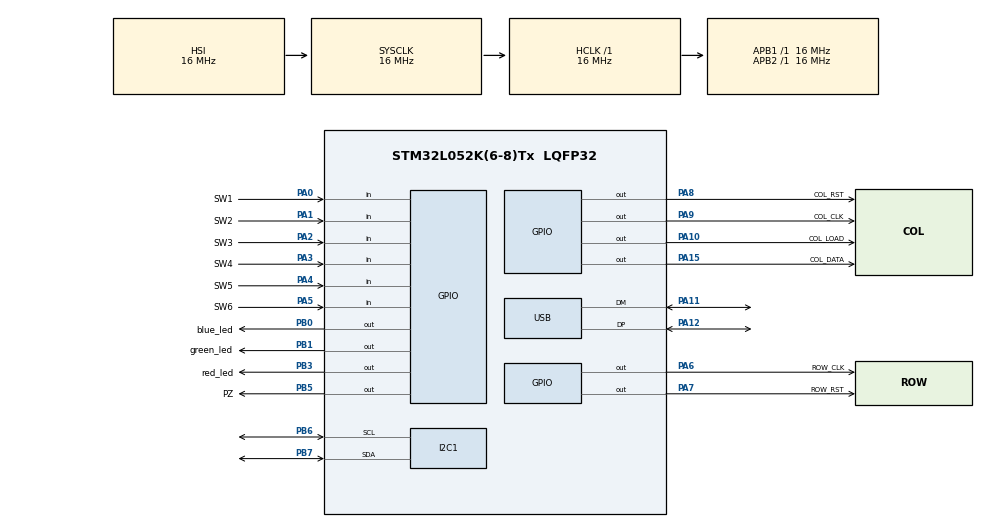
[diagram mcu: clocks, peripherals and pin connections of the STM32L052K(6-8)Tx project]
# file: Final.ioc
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I2C1.Timing=0x00303D5B
Mcu.Family=STM32L0
Mcu.Name=STM32L052K(6-8)Tx
Mcu.Package=LQFP32
NVIC.USB_IRQn=true\:0\:0\:false\:false\:true
PA0.GPIO_Label=SW1
PA0.GPIO_PuPd=GPIO_PULLUP
PA0.Signal=GPIO_Input
PA1.GPIO_Label=SW2
PA1.GPIO_PuPd=GPIO_PULLUP
PA1.Signal=GPIO_Input
PA10.GPIO_Label=COL_LOAD
PA10.Signal=GPIO_Output
PA11.Mode=Device
PA11.Signal=USB_DM
PA12.Mode=Device
PA12.Signal=USB_DP
PA15.GPIO_Label=COL_DATA
PA15.Signal=GPIO_Output
PA2.GPIO_Label=SW3
PA2.GPIO_PuPd=GPIO_PULLUP
PA2.Signal=GPIO_Input
PA3.GPIO_Label=SW4
PA3.GPIO_PuPd=GPIO_PULLUP
PA3.Signal=GPIO_Input
PA4.GPIO_Label=SW5
PA4.GPIO_PuPd=GPIO_PULLUP
PA4.Signal=GPIO_Input
PA5.GPIO_Label=SW6
PA5.GPIO_PuPd=GPIO_PULLUP
PA5.Signal=GPIO_Input
PA6.GPIO_Label=ROW_CLK
PA6.Signal=GPIO_Output
PA7.GPIO_Label=ROW_RST
PA7.Signal=GPIO_Output
PA8.GPIO_Label=COL_RST
PA8.Signal=GPIO_Output
PA9.GPIO_Label=COL_CLK
PA9.Signal=GPIO_Output
PB0.GPIO_Label=blue_led
PB0.Signal=GPIO_Output
PB1.GPIO_Label=green_led
PB1.Signal=GPIO_Output
PB3.GPIO_Label=red_led
PB3.Signal=GPIO_Output
PB5.GPIO_Label=PZ
PB5.Signal=GPIO_Output
PB6.Mode=I2C
PB6.Signal=I2C1_SCL
PB7.Mode=I2C
PB7.Signal=I2C1_SDA
ProjectManager.HeapSize=0x200
ProjectManager.StackSize=0x400
ProjectManager.TargetToolchain=MDK-ARM V5
RCC.AHBFreq_Value=16000000
RCC.APB1Freq_Value=16000000
RCC.APB1TimFreq_Value=16000000
RCC.APB2Freq_Value=16000000
RCC.APB2TimFreq_Value=16000000
RCC.HCLKFreq_Value=16000000
RCC.HSI16_VALUE=16000000
RCC.HSI48MClockSelection=RCC_USBCLKSOURCE_HSI48
RCC.HSI48_VALUE=48000000
RCC.HSI_VALUE=16000000
RCC.LSE_VALUE=32768
RCC.MSI_VALUE=2097000
RCC.SYSCLKFreq_VALUE=16000000
RCC.SYSCLKSource=RCC_SYSCLKSOURCE_HSI
RCC.VCOOutputFreq_Value=48000000
USB_DEVICE.CLASS_NAME_FS=CDC
USB_DEVICE.VirtualMode=Cdc
USB_DEVICE.VirtualModeFS=Cdc_FS
VP_USB_DEVICE_VS_USB_DEVICE_CDC_FS.Mode=CDC_FS
board=Final2

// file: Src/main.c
/**
  ******************************************************************************
  * File Name          : main.c
  * Description        : Main program body
  ******************************************************************************
  * This notice applies to any and all portions of this file
  * that are not between comment pairs USER CODE BEGIN and
  * USER CODE END. Other portions of this file, whether
  * inserted by the user or by software development tools
  * are owned by their respective copyright owners.
  *
  * Copyright (c) 2017 STMicroelectronics International N.V.
  * All rights reserved.
  *
  * Redistribution and use in source and binary forms, with or without
  * modification, are permitted, provided that the following conditions are met:
  *
  * 1. Redistribution of source code must retain the above copyright notice,
  *    this list of conditions and the following disclaimer.
  * 2. Redistributions in binary form must reproduce the above copyright notice,
  *    this list of conditions and the following disclaimer in the documentation
  *    and/or other materials provided with the distribution.
  * 3. Neither the name of STMicroelectronics nor the names of other
  *    contributors to this software may be used to endorse or promote products
  *    derived from this software without specific written permission.
  * 4. This software, including modifications and/or derivative works of this
  *    software, must execute solely and exclusively on microcontroller or
  *    microprocessor devices manufactured by or for STMicroelectronics.
  * 5. Redistribution and use of this software other than as permitted under
  *    this license is void and will automatically terminate your rights under
  *    this license.
  *
  * THIS SOFTWARE IS PROVIDED BY STMICROELECTRONICS AND CONTRIBUTORS "AS IS"
  * AND ANY EXPRESS, IMPLIED OR STATUTORY WARRANTIES, INCLUDING, BUT NOT
  * LIMITED TO, THE IMPLIED WARRANTIES OF MERCHANTABILITY, FITNESS FOR A
  * PARTICULAR PURPOSE AND NON-INFRINGEMENT OF THIRD PARTY INTELLECTUAL PROPERTY
  * RIGHTS ARE DISCLAIMED TO THE FULLEST EXTENT PERMITTED BY LAW. IN NO EVENT
  * SHALL STMICROELECTRONICS OR CONTRIBUTORS BE LIABLE FOR ANY DIRECT, INDIRECT,
  * INCIDENTAL, SPECIAL, EXEMPLARY, OR CONSEQUENTIAL DAMAGES (INCLUDING, BUT NOT
  * LIMITED TO, PROCUREMENT OF SUBSTITUTE GOODS OR SERVICES; LOSS OF USE, DATA,
  * OR PROFITS; OR BUSINESS INTERRUPTION) HOWEVER CAUSED AND ON ANY THEORY OF
  * LIABILITY, WHETHER IN CONTRACT, STRICT LIABILITY, OR TORT (INCLUDING
  * NEGLIGENCE OR OTHERWISE) ARISING IN ANY WAY OUT OF THE USE OF THIS SOFTWARE,
  * EVEN IF ADVISED OF THE POSSIBILITY OF SUCH DAMAGE.
  *
  ******************************************************************************
  */
#include "main.h"
#include "stm32l0xx_hal.h"
#include "usb_device.h"

/* USER CODE BEGIN Includes */
#include "lcd_user.h"
#include "usbd_cdc_if.h"
/* USER CODE END Includes */

I2C_HandleTypeDef hi2c1;

/* USER CODE BEGIN PV */
/* Private variables ---------------------------------------------------------*/
//
//**************************************************************************************
//	Global enums, structures
//**************************************************************************************
//

// 	these colors means different floors
typedef enum
{
	BLACK, RED, GREEN, YELLOW, BLUE, VIOLET, CYAN, WHITE
} color_t;

typedef struct
{
	uint8_t row;					// coordinates of labyrinth
	uint8_t col;					// row, col, floor
	color_t floor;
} position_t;							// type definition of position

position_t pos;							// player's position

/* USER CODE END PV */

void SystemClock_Config(void);
static void MX_GPIO_Init(void);
static void MX_I2C1_Init(void);

/* USER CODE BEGIN PFP */

//
//****************************************************************************************
//	Global function prototypes
//****************************************************************************************
//
void delay_us(uint32_t us);
void hw_init(void);
void shift_register_reset(void);
void shift_register_clk_pulse(void);
void shift_register_load_pulse(void);
void shift_register_write(uint8_t data);
void row_counter_reset(void);
void row_counter_clk_pulse(void);
void set_row(uint8_t row);
void set_dot(uint8_t row, uint8_t col, color_t color);
void set_color(color_t color);

//
//****************************************************************************************
//	Global variables
//****************************************************************************************
//
char lcd_buff[17];									// buffer for sprintf function to print on LCD display
char buff[17];											// buffer for sprintf function to print on USB device

//****************************************************************************************
//	This is labyrinth data
//****************************************************************************************
#define FORWARD		0x01							// wall directions and values
#define RIGHT		0x02							// you can't go in this direction if current cell
#define BACKWARD	0x04							// contains this wall (floor and/or ceiling)
#define LEFT		0x08
#define DOWN		0x10
#define	UP			0x20

//											F  R  C											F = floor, R = row, C = colum
const uint8_t labyrinth[7][8][8] = {

//  col 0	col1  col2  col3  col4  col5  col6	col 7	  row 0 of array is
//																										row 7 of labyrinth!

		0x39,	0x31,	0x37,	0x39,	0x35,	0x37,	0x39,	0x17,	// row 7	FLOOR 1 (RED)
		0x3A,	0x3E,	0x39,	0x34,	0x33,	0x3B,	0x3C,	0x33,	// row 6
		0x38,	0x31,	0x32,	0x1B,	0x38,	0x32,	0x3B,	0x3A,	// row 5
		0x3A,	0x3A,	0x3A,	0x3A,	0x3A,	0x3E,	0x3C,	0x32,	// row 4
		0x3E,	0x3E,	0x38,	0x32,	0x3A,	0x39,	0x31,	0x36,	// row 3
		0x39,	0x31,	0x36,	0x3E,	0x3A,	0x3E,	0x3A,	0x3B,	// row 2
		0x3A,	0x3A,	0x39,	0x33,	0x38,	0x35,	0x32,	0x3A,	// row 1
		0x3E,	0x3C,	0x36,	0x3E,	0x3C,	0x37,	0x3C,	0x36,	// row 0

		0x39,	0x31,	0x37,	0x39,	0x35,	0x37,	0x39,	0x27,	// row 7	FLOOR 2 (GREEN)
		0x3A,	0x3E,	0x39,	0x34,	0x33,	0x3B,	0x3A,	0x3B,
		0x38,	0x31,	0x32,	0x2B,	0x38,	0x32,	0x3A,	0x3A,
		0x3A,	0x3A,	0x3A,	0x3A,	0x3A,	0x3E,	0x3C,	0x32,
		0x3E,	0x3E,	0x3A,	0x3A,	0x3A,	0x39,	0x31,	0x36,
		0x39,	0x31,	0x36,	0x3E,	0x3A,	0x3E,	0x3A,	0x3B,
		0x3E,	0x3A,	0x39,	0x33,	0x38,	0x35,	0x32,	0x3A,
		0x1D,	0x34,	0x36,	0x3E,	0x3C,	0x37,	0x3C,	0x36,

		0x1D,	0x33,	0x39,	0x35,	0x35,	0x35,	0x35,	0x33,	// row 7	FLOOR 3 (YELLOW)
		0x3B,	0x3A,	0x3A,	0x39,	0x31,	0x35,	0x33,	0x3A,
		0x38,	0x32,	0x3A,	0x3E,	0x3A,	0x39,	0x36,	0x3A,
		0x3E,	0x3A,	0x3C,	0x17,	0x3A,	0x3C,	0x37,	0x3A,
		0x39,	0x34,	0x31,	0x35,	0x30,	0x35,	0x35,	0x32,
		0x3A,	0x3D,	0x30,	0x33,	0x3A,	0x39,	0x37,	0x3A,
		0x3C,	0x37,	0x3E,	0x3E,	0x3A,	0x3C,	0x35,	0x36,
		0x2D,	0x35,	0x35,	0x35,	0x34,	0x35,	0x35,	0x37,

		0x2D,	0x33,	0x39,	0x35,	0x35,	0x35,	0x35,	0x33,	// row 7	FLOOR 4 (BLUE)
		0x3B,	0x3A,	0x38,	0x35,	0x37,	0x39,	0x33,	0x3A,
		0x38,	0x32,	0x3A,	0x3D,	0x33,	0x3A,	0x3A,	0x3A,
		0x3E,	0x3A,	0x3A,	0x25,	0x36,	0x3E,	0x3A,	0x3A,
		0x39,	0x36,	0x3A,	0x39,	0x35,	0x31,	0x30,	0x32,
		0x3A,	0x3D,	0x32,	0x3A,	0x3B,	0x3E,	0x3A,	0x3A,
		0x3C,	0x17,	0x3E,	0x3E,	0x38,	0x35,	0x36,	0x3E,
		0x3D,	0x35,	0x35,	0x35,	0x34,	0x35,	0x35,	0x17,

		0x1D,	0x33,	0x39,	0x37,	0x3D,	0x35,	0x35,	0x33,	// row 7	FLOOR 5 (VIOLET)
		0x3B,	0x3A,	0x3A,	0x39,	0x33,	0x39,	0x35,	0x32,
		0x38,	0x32,	0x3C,	0x36,	0x3A,	0x3C,	0x37,	0x3A,
		0x3E,	0x3C,	0x33,	0x1D,	0x34,	0x35,	0x33,	0x3A,
		0x39,	0x37,	0x38,	0x35,	0x35,	0x37,	0x38,	0x36,
		0x3A,	0x3D,	0x34,	0x35,	0x31,	0x35,	0x36,	0x3B,
		0x38,	0x25,	0x35,	0x37,	0x38,	0x35,	0x35,	0x36,
		0x3C,	0x35,	0x35,	0x37,	0x3C,	0x35,	0x35,	0x27,

		0x2D,	0x33,	0x39,	0x35,	0x35,	0x31,	0x35,	0x33,	// row 7	FLOOR 6 (CYAN)
		0x3B,	0x3A,	0x38,	0x35,	0x37,	0x3A,	0x3B,	0x3E,
		0x38,	0x32,	0x3A,	0x3D,	0x33,	0x3C,	0x34,	0x33,
		0x3E,	0x3A,	0x38,	0x25,	0x36,	0x39,	0x37,	0x3A,
		0x39,	0x36,	0x3A,	0x3D,	0x33,	0x38,	0x31,	0x32,
		0x3A,	0x3D,	0x30,	0x35,	0x36,	0x3E,	0x3A,	0x3A,
		0x3C,	0x37,	0x3E,	0x3D,	0x31,	0x35,	0x36,	0x3E,
		0x1D,	0x35,	0x35,	0x35,	0x34,	0x35,	0x35,	0x37,

		0x3D,	0x33,	0x3D,	0x35,	0x31,	0x31,	0x35,	0x37,	// row 7	FLOOR 7 (WHITE)
		0x3B,	0x38,	0x35,	0x35,	0x32,	0x3A,	0x3B,	0x3B,
		0x38,	0x32,	0x39,	0x35,	0x32,	0x3C,	0x34,	0x32,
		0x3E,	0x3A,	0x38,	0x37,	0x3A,	0x39,	0x37,	0x3A,
		0x39,	0x36,	0x3A,	0x3D,	0x32,	0x38,	0x35,	0x32,
		0x3A,	0x3D,	0x30,	0x37,	0x3A,	0x3E,	0x3B,	0x3A,
		0x3C,	0x37,	0x3E,	0x3D,	0x30,	0x35,	0x36,	0x3E,
		0x2D,	0x35,	0x35,	0x35,	0x34,	0x35,	0x35,	0x37,
};

//
//***************************************************************************************
//	This is NOT an accurate delay function
//  1 -> 1,8 us, 3 -> 3,5 us, 5 -> 5,2 us, 10 -> 9,8 us, 20 -> 18 us
//***************************************************************************************
//
void delay_us(uint32_t us)
{
	volatile uint32_t counter = 3*us;
	while(counter--);
}

//
//***************************************************************************************
//	This function does all Hardware initializations
//***************************************************************************************
//
void hw_init(void)
{
	// 74HC595 shift register init
	HAL_GPIO_WritePin(COL_LOAD_GPIO_Port, COL_LOAD_Pin, GPIO_PIN_RESET);	// load low
	HAL_GPIO_WritePin(COL_CLK_GPIO_Port, COL_CLK_Pin, GPIO_PIN_RESET);		// clk low
	HAL_GPIO_WritePin(COL_DATA_GPIO_Port, COL_DATA_Pin, GPIO_PIN_RESET);	// data low
	shift_register_reset();

	HAL_GPIO_WritePin(ROW_CLK_GPIO_Port, ROW_CLK_Pin, GPIO_PIN_RESET);		// row clk low
	HAL_GPIO_WritePin(ROW_RST_GPIO_Port, ROW_RST_Pin, GPIO_PIN_SET);		// row rst high
	delay_us(5);
	HAL_GPIO_WritePin(ROW_RST_GPIO_Port, ROW_RST_Pin, GPIO_PIN_RESET);		// row rst low

}

//
//***************************************************************************************
//	This function reset 74HC595 shift register
//***************************************************************************************
//
void shift_register_reset(void)
{
	HAL_GPIO_WritePin(GPIOA, COL_RST_Pin, GPIO_PIN_RESET);	// reset low (= reset)
	delay_us(5);
	HAL_GPIO_WritePin(GPIOA, COL_RST_Pin, GPIO_PIN_SET);	// release reset
	delay_us(5);
}

//
//***************************************************************************************
//	This function do one clock pulse to shift register
//***************************************************************************************
//
void shift_register_clk_pulse(void)
{
	HAL_GPIO_WritePin(GPIOA, COL_CLK_Pin, GPIO_PIN_SET);
	delay_us(1);
	HAL_GPIO_WritePin(GPIOA, COL_CLK_Pin, GPIO_PIN_RESET);
}

//
//***************************************************************************************
// This function loads data of shift register to it's outputs
//***************************************************************************************
//
void shift_register_load_pulse(void)
{
	HAL_GPIO_WritePin(GPIOA, COL_LOAD_Pin, GPIO_PIN_SET);
	delay_us(1);
	HAL_GPIO_WritePin(GPIOA, COL_LOAD_Pin, GPIO_PIN_RESET);
}

//
//***************************************************************************************
//	This function updates leds
//***************************************************************************************
void shift_register_write(uint8_t data)
{
	uint8_t i;

	shift_register_reset();						// reset shift register

	for (i=0; i<8; i++)							// 8 bit data
	{
		if (data & (0x80 >> i))					// 1000 0000 start from MSB
			HAL_GPIO_WritePin(GPIOA, COL_DATA_Pin, GPIO_PIN_SET);
		else
			HAL_GPIO_WritePin(GPIOA, COL_DATA_Pin, GPIO_PIN_RESET);

		shift_register_clk_pulse();
	}

	shift_register_load_pulse();			// load register 8 bit date to output latch
}

//
//***************************************************************************************
//	This function reset row counter
//***************************************************************************************
//
void row_counter_reset(void)
{
	HAL_GPIO_WritePin(ROW_RST_GPIO_Port, ROW_RST_Pin, GPIO_PIN_SET);		// row rst high
	delay_us(5);
	HAL_GPIO_WritePin(ROW_RST_GPIO_Port, ROW_RST_Pin, GPIO_PIN_RESET);		// row rst low
}

//
//***************************************************************************************
//	This function do one clock pulse to row counter
//***************************************************************************************
//
void row_counter_clk_pulse(void)
{
	HAL_GPIO_WritePin(ROW_CLK_GPIO_Port, ROW_CLK_Pin, GPIO_PIN_SET);		// row clk high
	delay_us(1);
	HAL_GPIO_WritePin(ROW_CLK_GPIO_Port, ROW_CLK_Pin, GPIO_PIN_RESET);		// row clk low
}

//
//***************************************************************************************
//	This function set row
//***************************************************************************************
//
void set_row(uint8_t row)
{
	uint8_t i;

	row_counter_reset();								// reset row counter
	for(i=0; i<(7-row); i++)							// do row times clock pulses to counter
  {
		row_counter_clk_pulse();
  }
}

//
//***************************************************************************************
//	This function clear all dots (whole display is blank)
//***************************************************************************************
//
void clr_all_dots(void)
{
	shift_register_write(0xFF);								// all leds off
}

//
//***************************************************************************************
//	This function sets the color of led and position row, col
//	Col format (24 bit), B = Blue, G = Green, R = Red
//	B7 B6 B5 B4 B3 B2 B1 B0 G7 G6 G5 G4 G3 G2 G1 G0 R7 R6 R5 R4 R3 R2 R1 R0
//***************************************************************************************
//
void set_dot(uint8_t row, uint8_t col, color_t color)
{
	shift_register_write(0xFF);								// all leds off
	set_row(row);											// set row
	shift_register_write(~(0x01 << col));						//Turn on LED corresponding to column
	set_color(color);
}

//
//***************************************************************************************
//	This function sets the color of led for corresponding floor
//	Col format (24 bit), B = Blue, G = Green, R = Red
//	B7 B6 B5 B4 B3 B2 B1 B0 G7 G6 G5 G4 G3 G2 G1 G0 R7 R6 R5 R4 R3 R2 R1 R0
//***************************************************************************************
//
void set_color(color_t color)
{
	if (color & RED)															// if color includes red color
		HAL_GPIO_WritePin(red_led_GPIO_Port, red_led_Pin, GPIO_PIN_SET);						// Turn on red color
	else
		HAL_GPIO_WritePin(red_led_GPIO_Port, red_led_Pin, GPIO_PIN_RESET);					// Turn off red color
	if (color & GREEN)															// if color includes green color
		HAL_GPIO_WritePin(green_led_GPIO_Port, green_led_Pin, GPIO_PIN_SET);				// Turn on green color
	else
		HAL_GPIO_WritePin(green_led_GPIO_Port, green_led_Pin, GPIO_PIN_RESET);			// Turn off green color
	if (color & BLUE)															// if color includes blue color
		HAL_GPIO_WritePin(blue_led_GPIO_Port, blue_led_Pin, GPIO_PIN_SET);					// Turn on blue color
	else
		HAL_GPIO_WritePin(blue_led_GPIO_Port, blue_led_Pin, GPIO_PIN_RESET);					// Turn off blue color
}

//
//***************************************************************************************
//	this function gives alarm sound
//***************************************************************************************
//
void beep(void)
{
	uint8_t i;

	for (i=0; i<2 ; i++)
	{
		HAL_GPIO_WritePin(PZ_GPIO_Port, PZ_Pin, GPIO_PIN_SET);
		HAL_Delay(50);
		HAL_GPIO_WritePin(PZ_GPIO_Port, PZ_Pin, GPIO_PIN_RESET);
		HAL_Delay(50);
	}
}

//
//***************************************************************************************
//	now you finist the game
//***************************************************************************************
//
void game_over(void)
{

}

/* Private function prototypes -----------------------------------------------*/

/* USER CODE END PFP */

int main(void)
{

  /* USER CODE BEGIN 1 */
	uint16_t	steps = 0;									// how many steps you have walking
	uint16_t 	hits = 0;								  	// mow many times you hit a wall
	uint8_t		dly_cntr = 0;								// this for delays

  /* USER CODE END 1 */

  /* MCU Configuration----------------------------------------------------------*/

  /* Reset of all peripherals, Initializes the Flash interface and the Systick. */
  HAL_Init();

  /* Configure the system clock */
  SystemClock_Config();

  /* Initialize all configured peripherals */
  MX_GPIO_Init();
  MX_I2C1_Init();
  MX_USB_DEVICE_Init();

  /* USER CODE BEGIN 2 */
  hw_init();

  lcd_init(&hi2c1);						          // initialize LCD display
  lcd_set_cursor_style(CURSOR_OFF);     // don't show cursor
  lcd_write_cmd(CLEAR_DISPLAY);         // clear display

	pos.col = 0;
	pos.row = 0;
	pos.floor = RED;		//RED=1
  /* USER CODE END 2 */

  /* Infinite loop */
  /* USER CODE BEGIN WHILE */
  while (1)
  {
    set_dot(pos.row, pos.col, (color_t)pos.floor);
//---------------------------------------------------------------------------------------
    if (HAL_GPIO_ReadPin(SW1_GPIO_Port, SW1_Pin) == 0 ||	flag == 2)	// is FORWARD pressed?
    {
      pos.row++;																			// move forward

      flag = 0;

      HAL_Delay(10);
      while (HAL_GPIO_ReadPin(SW1_GPIO_Port, SW1_Pin) == 0)
        continue;
    }

    //---------------------------------------------------------------------------------------
		if (HAL_GPIO_ReadPin(SW2_GPIO_Port, SW2_Pin) == 0 ||	flag == 3)	// is LEFT pressed?
		{
			pos.col--;																			// move left

			flag = 0;

			HAL_Delay(10);
			while (HAL_GPIO_ReadPin(SW2_GPIO_Port, SW2_Pin) == 0)
				continue;
		}

//---------------------------------------------------------------------------------------
		if (HAL_GPIO_ReadPin(SW3_GPIO_Port, SW3_Pin) == 0 ||	flag == 5)	// is RIGHT pressed?
		{
			pos.col++;																			// move right

			flag = 0;

			HAL_Delay(10);
			while (HAL_GPIO_ReadPin(SW3_GPIO_Port, SW3_Pin) == 0)
				continue;
		}

//---------------------------------------------------------------------------------------
		if (HAL_GPIO_ReadPin(SW4_GPIO_Port, SW4_Pin) == 0 ||	flag == 4)	// is BACKWARD pressed?
		{
			pos.row--;																			// move backward

			flag = 0;

			HAL_Delay(10);
			while (HAL_GPIO_ReadPin(SW4_GPIO_Port, SW4_Pin) == 0)
				continue;
		}

//---------------------------------------------------------------------------------------
		if (HAL_GPIO_ReadPin(SW5_GPIO_Port, SW5_Pin) == 0 ||	flag == 6)	// is DOWN pressed?
		{
			pos.floor--;																		// move down

			flag = 0;

			HAL_Delay(10);
			while (HAL_GPIO_ReadPin(SW5_GPIO_Port, SW5_Pin) == 0)
				continue;
		}

//---------------------------------------------------------------------------------------
		if (HAL_GPIO_ReadPin(SW6_GPIO_Port, SW6_Pin) == 0 ||	flag == 7)	// is UP pressed?
		{
			pos.floor++;																		// move up

			flag = 0;

			HAL_Delay(10);
			while (HAL_GPIO_ReadPin(SW6_GPIO_Port, SW6_Pin) == 0)
				continue;
		}
  /* USER CODE END WHILE */

  }

}

/** System Clock Configuration
*/
void SystemClock_Config(void)
{

  RCC_OscInitTypeDef RCC_OscInitStruct;
  RCC_ClkInitTypeDef RCC_ClkInitStruct;
  RCC_PeriphCLKInitTypeDef PeriphClkInit;

    /**Configure the main internal regulator output voltage
    */
  __HAL_PWR_VOLTAGESCALING_CONFIG(PWR_REGULATOR_VOLTAGE_SCALE1);

    /**Initializes the CPU, AHB and APB busses clocks
    */
  RCC_OscInitStruct.OscillatorType = RCC_OSCILLATORTYPE_HSI|RCC_OSCILLATORTYPE_HSI48;
  RCC_OscInitStruct.HSIState = RCC_HSI_ON;
  RCC_OscInitStruct.HSICalibrationValue = 16;
  RCC_OscInitStruct.HSI48State = RCC_HSI48_ON;
  RCC_OscInitStruct.PLL.PLLState = RCC_PLL_NONE;
  if (HAL_RCC_OscConfig(&RCC_OscInitStruct) != HAL_OK)
  {
    _Error_Handler(__FILE__, __LINE__);
  }

    /**Initializes the CPU, AHB and APB busses clocks
    */
  RCC_ClkInitStruct.ClockType = RCC_CLOCKTYPE_HCLK|RCC_CLOCKTYPE_SYSCLK
                              |RCC_CLOCKTYPE_PCLK1|RCC_CLOCKTYPE_PCLK2;
  RCC_ClkInitStruct.SYSCLKSource = RCC_SYSCLKSOURCE_HSI;
  RCC_ClkInitStruct.AHBCLKDivider = RCC_SYSCLK_DIV1;
  RCC_ClkInitStruct.APB1CLKDivider = RCC_HCLK_DIV1;
  RCC_ClkInitStruct.APB2CLKDivider = RCC_HCLK_DIV1;

  if (HAL_RCC_ClockConfig(&RCC_ClkInitStruct, FLASH_LATENCY_0) != HAL_OK)
  {
    _Error_Handler(__FILE__, __LINE__);
  }

  PeriphClkInit.PeriphClockSelection = RCC_PERIPHCLK_I2C1|RCC_PERIPHCLK_USB;
  PeriphClkInit.I2c1ClockSelection = RCC_I2C1CLKSOURCE_PCLK1;
  PeriphClkInit.UsbClockSelection = RCC_USBCLKSOURCE_HSI48;
  if (HAL_RCCEx_PeriphCLKConfig(&PeriphClkInit) != HAL_OK)
  {
    _Error_Handler(__FILE__, __LINE__);
  }

    /**Configure the Systick interrupt time
    */
  HAL_SYSTICK_Config(HAL_RCC_GetHCLKFreq()/1000);

    /**Configure the Systick
    */
  HAL_SYSTICK_CLKSourceConfig(SYSTICK_CLKSOURCE_HCLK);

  /* SysTick_IRQn interrupt configuration */
  HAL_NVIC_SetPriority(SysTick_IRQn, 0, 0);
}

/* I2C1 init function */
static void MX_I2C1_Init(void)
{

  hi2c1.Instance = I2C1;
  hi2c1.Init.Timing = 0x00303D5B;
  hi2c1.Init.OwnAddress1 = 0;
  hi2c1.Init.AddressingMode = I2C_ADDRESSINGMODE_7BIT;
  hi2c1.Init.DualAddressMode = I2C_DUALADDRESS_DISABLE;
  hi2c1.Init.OwnAddress2 = 0;
  hi2c1.Init.OwnAddress2Masks = I2C_OA2_NOMASK;
  hi2c1.Init.GeneralCallMode = I2C_GENERALCALL_DISABLE;
  hi2c1.Init.NoStretchMode = I2C_NOSTRETCH_DISABLE;
  if (HAL_I2C_Init(&hi2c1) != HAL_OK)
  {
    _Error_Handler(__FILE__, __LINE__);
  }

    /**Configure Analogue filter
    */
  if (HAL_I2CEx_ConfigAnalogFilter(&hi2c1, I2C_ANALOGFILTER_ENABLE) != HAL_OK)
  {
    _Error_Handler(__FILE__, __LINE__);
  }

    /**Configure Digital filter
    */
  if (HAL_I2CEx_ConfigDigitalFilter(&hi2c1, 0) != HAL_OK)
  {
    _Error_Handler(__FILE__, __LINE__);
  }

}

/** Configure pins as
        * Analog
        * Input
        * Output
        * EVENT_OUT
        * EXTI
*/
static void MX_GPIO_Init(void)
{

  GPIO_InitTypeDef GPIO_InitStruct;

  /* GPIO Ports Clock Enable */
  __HAL_RCC_GPIOA_CLK_ENABLE();
  __HAL_RCC_GPIOB_CLK_ENABLE();

  /*Configure GPIO pin Output Level */
  HAL_GPIO_WritePin(GPIOA, ROW_CLK_Pin|ROW_RST_Pin|COL_RST_Pin|COL_CLK_Pin
                          |COL_LOAD_Pin|COL_DATA_Pin, GPIO_PIN_RESET);

  /*Configure GPIO pin Output Level */
  HAL_GPIO_WritePin(GPIOB, blue_led_Pin|green_led_Pin|red_led_Pin|PZ_Pin, GPIO_PIN_RESET);

  /*Configure GPIO pins : SW1_Pin SW2_Pin SW3_Pin SW4_Pin
                           SW5_Pin SW6_Pin */
  GPIO_InitStruct.Pin = SW1_Pin|SW2_Pin|SW3_Pin|SW4_Pin
                          |SW5_Pin|SW6_Pin;
  GPIO_InitStruct.Mode = GPIO_MODE_INPUT;
  GPIO_InitStruct.Pull = GPIO_PULLUP;
  HAL_GPIO_Init(GPIOA, &GPIO_InitStruct);

  /*Configure GPIO pins : ROW_CLK_Pin ROW_RST_Pin COL_RST_Pin COL_CLK_Pin
                           COL_LOAD_Pin COL_DATA_Pin */
  GPIO_InitStruct.Pin = ROW_CLK_Pin|ROW_RST_Pin|COL_RST_Pin|COL_CLK_Pin
                          |COL_LOAD_Pin|COL_DATA_Pin;
  GPIO_InitStruct.Mode = GPIO_MODE_OUTPUT_PP;
  GPIO_InitStruct.Pull = GPIO_NOPULL;
  GPIO_InitStruct.Speed = GPIO_SPEED_FREQ_LOW;
  HAL_GPIO_Init(GPIOA, &GPIO_InitStruct);

  /*Configure GPIO pins : blue_led_Pin green_led_Pin red_led_Pin PZ_Pin */
  GPIO_InitStruct.Pin = blue_led_Pin|green_led_Pin|red_led_Pin|PZ_Pin;
  GPIO_InitStruct.Mode = GPIO_MODE_OUTPUT_PP;
  GPIO_InitStruct.Pull = GPIO_NOPULL;
  GPIO_InitStruct.Speed = GPIO_SPEED_FREQ_LOW;
  HAL_GPIO_Init(GPIOB, &GPIO_InitStruct);

}

void _Error_Handler(char * file, int line)
{
  while(1)
  {
  }
}

/************************ (C) COPYRIGHT STMicroelectronics *****END OF FILE****/
